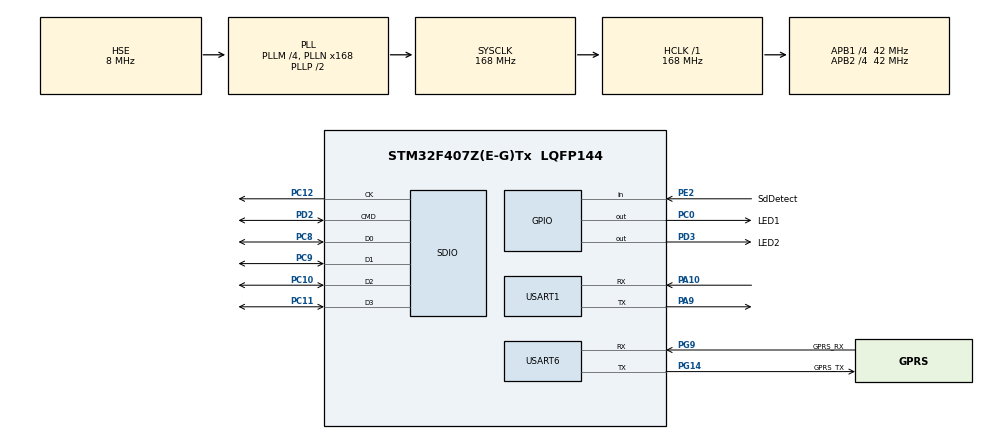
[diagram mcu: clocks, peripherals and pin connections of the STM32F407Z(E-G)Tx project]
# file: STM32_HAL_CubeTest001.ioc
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Dma.Request0=SDIO_RX
Dma.Request1=SDIO_TX
Dma.SDIO_RX.0.Direction=DMA_PERIPH_TO_MEMORY
Dma.SDIO_RX.0.FIFOMode=DMA_FIFOMODE_ENABLE
Dma.SDIO_RX.0.FIFOThreshold=DMA_FIFO_THRESHOLD_FULL
Dma.SDIO_RX.0.Instance=DMA2_Stream3
Dma.SDIO_RX.0.MemBurst=DMA_MBURST_INC4
Dma.SDIO_RX.0.MemDataAlignment=DMA_MDATAALIGN_BYTE
Dma.SDIO_RX.0.MemInc=DMA_MINC_ENABLE
Dma.SDIO_RX.0.Mode=DMA_PFCTRL
Dma.SDIO_RX.0.PeriphBurst=DMA_PBURST_INC4
Dma.SDIO_RX.0.PeriphDataAlignment=DMA_PDATAALIGN_WORD
Dma.SDIO_RX.0.PeriphInc=DMA_PINC_DISABLE
Dma.SDIO_RX.0.Priority=DMA_PRIORITY_LOW
Dma.SDIO_TX.1.Direction=DMA_MEMORY_TO_PERIPH
Dma.SDIO_TX.1.FIFOMode=DMA_FIFOMODE_ENABLE
Dma.SDIO_TX.1.FIFOThreshold=DMA_FIFO_THRESHOLD_FULL
Dma.SDIO_TX.1.Instance=DMA2_Stream6
Dma.SDIO_TX.1.MemBurst=DMA_MBURST_INC4
Dma.SDIO_TX.1.MemDataAlignment=DMA_MDATAALIGN_WORD
Dma.SDIO_TX.1.MemInc=DMA_MINC_ENABLE
Dma.SDIO_TX.1.Mode=DMA_PFCTRL
Dma.SDIO_TX.1.PeriphBurst=DMA_PBURST_INC4
Dma.SDIO_TX.1.PeriphDataAlignment=DMA_PDATAALIGN_WORD
Dma.SDIO_TX.1.PeriphInc=DMA_PINC_DISABLE
Dma.SDIO_TX.1.Priority=DMA_PRIORITY_LOW
FATFS.BSP.number=1
FATFS._CODE_PAGE=850
FATFS._FS_EXFAT=0
FATFS._FS_LOCK=3
FATFS._FS_NORTC=1
FATFS._FS_RPATH=2
FATFS._FS_TINY=1
FATFS._MAX_LFN=64
FATFS._MAX_SS=4096
FATFS._MIN_SS=512
FATFS._USE_FIND=0
FATFS._USE_LFN=2
FATFS._USE_STRFUNC=0
FATFS._VOLUMES=2
FATFS0.BSP.STBoard=false
FATFS0.BSP.api=Unknown
FATFS0.BSP.i2caddr=0
FATFS0.BSP.instance=PE2
FATFS0.BSP.ip=GPIO
FATFS0.BSP.mode=Input
FATFS0.BSP.name=Detect_SDIO
FATFS0.BSP.solution=PE2
FREERTOS.BinarySemaphores01=recvDataTimeoutSem,Dynamic,NULL;recvFrameSem,Dynamic,NULL
FREERTOS.Queues01=recvFrameQ,1,1248,1,Dynamic,NULL,NULL;sendFrameQ,1,1248,1,Dynamic,NULL,NULL
FREERTOS.Tasks01=defaultTask,24,128,StartDefaultTask,Default,NULL,Dynamic,NULL,NULL;GPRSSendTask,17,1024,Start_GPRSSendTask,Default,NULL,Dynamic,NULL,NULL;updateTask,18,2048,StartupdateTask,Default,NULL,Dynamic,NULL,NULL;GPRSRecvTask,19,1024,Start_GPRSRecvTask,Default,NULL,Dynamic,NULL,NULL
FREERTOS.configCHECK_FOR_STACK_OVERFLOW=1
FREERTOS.configLIBRARY_LOWEST_INTERRUPT_PRIORITY=15
FREERTOS.configLIBRARY_MAX_SYSCALL_INTERRUPT_PRIORITY=5
FREERTOS.configTOTAL_HEAP_SIZE=0x10000
FREERTOS.configUSE_OS2_MUTEX=1
FREERTOS.configUSE_TASK_NOTIFICATIONS=1
Mcu.Family=STM32F4
Mcu.Name=STM32F407Z(E-G)Tx
Mcu.Package=LQFP144
NVIC.DMA2_Stream3_IRQn=true\:6\:0\:true\:false\:true\:true\:false\:true
NVIC.DMA2_Stream6_IRQn=true\:6\:0\:true\:false\:true\:true\:false\:true
NVIC.PriorityGroup=NVIC_PRIORITYGROUP_4
NVIC.SDIO_IRQn=true\:5\:0\:true\:false\:true\:true\:true\:true
NVIC.TIM1_BRK_TIM9_IRQn=true\:5\:0\:true\:false\:true\:true\:true\:true
NVIC.TIM1_UP_TIM10_IRQn=true\:15\:0\:true\:false\:true\:false\:false\:true
NVIC.TIM5_IRQn=true\:8\:0\:true\:false\:true\:true\:true\:true
NVIC.TimeBase=TIM1_UP_TIM10_IRQn
NVIC.TimeBaseIP=TIM1
NVIC.USART1_IRQn=true\:8\:0\:true\:false\:true\:true\:true\:true
NVIC.USART6_IRQn=true\:6\:0\:true\:false\:true\:true\:true\:true
PA10.Mode=Asynchronous
PA10.Signal=USART1_RX
PA13.Mode=JTAG_4_pins
PA13.Signal=SYS_JTMS-SWDIO
PA14.Mode=JTAG_4_pins
PA14.Signal=SYS_JTCK-SWCLK
PA15.Mode=JTAG_4_pins
PA15.Signal=SYS_JTDI
PA9.Mode=Asynchronous
PA9.Signal=USART1_TX
PB3.Mode=JTAG_4_pins
PB3.Signal=SYS_JTDO-SWO
PC0.GPIO_Label=LED1
PC0.GPIO_PuPd=GPIO_PULLUP
PC0.PinState=GPIO_PIN_SET
PC0.Signal=GPIO_Output
PC10.GPIO_PuPd=GPIO_PULLUP
PC10.Mode=SD_4_bits_Wide_bus
PC10.Signal=SDIO_D2
PC11.GPIO_PuPd=GPIO_PULLUP
PC11.Mode=SD_4_bits_Wide_bus
PC11.Signal=SDIO_D3
PC12.GPIO_PuPd=GPIO_PULLUP
PC12.Mode=SD_4_bits_Wide_bus
PC12.Signal=SDIO_CK
PC8.GPIO_PuPd=GPIO_PULLUP
PC8.Mode=SD_4_bits_Wide_bus
PC8.Signal=SDIO_D0
PC9.GPIO_PuPd=GPIO_PULLUP
PC9.Mode=SD_4_bits_Wide_bus
PC9.Signal=SDIO_D1
PD2.GPIO_PuPd=GPIO_PULLUP
PD2.Mode=SD_4_bits_Wide_bus
PD2.Signal=SDIO_CMD
PD3.GPIO_Label=LED2
PD3.GPIO_PuPd=GPIO_PULLUP
PD3.PinState=GPIO_PIN_SET
PD3.Signal=GPIO_Output
PE2.GPIO_Label=SdDetect
PE2.Signal=GPIO_Input
PG14.GPIO_Label=GPRS_TX
PG14.Mode=Asynchronous
PG14.Signal=USART6_TX
PG9.GPIO_Label=GPRS_RX
PG9.Mode=Asynchronous
PG9.Signal=USART6_RX
PH0-OSC_IN.Mode=HSE-External-Oscillator
PH0-OSC_IN.Signal=RCC_OSC_IN
PH1-OSC_OUT.Mode=HSE-External-Oscillator
PH1-OSC_OUT.Signal=RCC_OSC_OUT
ProjectManager.HeapSize=0x1000
ProjectManager.StackSize=0x1000
ProjectManager.TargetToolchain=MDK-ARM V5.32
RCC.48MHZClocksFreq_Value=48000000
RCC.AHBFreq_Value=168000000
RCC.APB1CLKDivider=RCC_HCLK_DIV4
RCC.APB1Freq_Value=42000000
RCC.APB1TimFreq_Value=84000000
RCC.APB2CLKDivider=RCC_HCLK_DIV4
RCC.APB2Freq_Value=42000000
RCC.APB2TimFreq_Value=84000000
RCC.CortexFreq_Value=168000000
RCC.HCLKFreq_Value=168000000
RCC.HSE_VALUE=8000000
RCC.HSI_VALUE=16000000
RCC.LSE_VALUE=32768
RCC.PLLM=4
RCC.PLLN=168
RCC.PLLQ=7
RCC.PLLSourceVirtual=RCC_PLLSOURCE_HSE
RCC.SYSCLKFreq_VALUE=168000000
RCC.SYSCLKSource=RCC_SYSCLKSOURCE_PLLCLK
RCC.VCOOutputFreq_Value=336000000
SDIO.ClockDiv=24
TIM5.AutoReloadPreload=TIM_AUTORELOAD_PRELOAD_ENABLE
TIM5.Period=29999
TIM5.Prescaler=8399
TIM9.Period=99
TIM9.Prescaler=8399
USART1.VirtualMode=VM_ASYNC
USART6.VirtualMode=VM_ASYNC
VP_FATFS_VS_SDIO.Mode=SDIO
VP_FREERTOS_VS_CMSIS_V2.Mode=CMSIS_V2
VP_SYS_VS_tim1.Mode=TIM1
VP_TIM5_VS_ClockSourceINT.Mode=Internal
VP_TIM9_VS_ClockSourceINT.Mode=Internal
board=custom

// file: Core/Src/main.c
/* USER CODE BEGIN Header */
/**
  ******************************************************************************
  * @file           : main.c
  * @brief          : Main program body
  ******************************************************************************
  * @attention
  *
  * <h2><center>&copy; Copyright (c) 2021 STMicroelectronics.
  * All rights reserved.</center></h2>
  *
  * This software component is licensed by ST under BSD 3-Clause license,
  * the "License"; You may not use this file except in compliance with the
  * License. You may obtain a copy of the License at:
  *                        opensource.org/licenses/BSD-3-Clause
  *
  ******************************************************************************
  */
/* USER CODE END Header */
#include "main.h"
#include "cmsis_os.h"
#include "dma.h"
#include "fatfs.h"
#include "sdio.h"
#include "tim.h"
#include "usart.h"
#include "gpio.h"

/* USER CODE BEGIN PV */

extern uint8_t usart1_start_update;
extern uint8_t gprsResendCount;

/* USER CODE END PV */

void SystemClock_Config(void);
void MX_FREERTOS_Init(void);

/* USER CODE BEGIN 0 */
#include "stdio.h"
struct __FILE
{
	int handle;
};

FILE __stdout;

void _sys_exit(int x)
{
    x = x;
}

int fputc(int ch, FILE *f)
{
    HAL_UART_Transmit(&huart1, (uint8_t *)&ch, 1, HAL_MAX_DELAY);
    return ch;
}

int fgetc(FILE *f)
{
    uint8_t ch = 0;
    HAL_UART_Receive(&huart1, &ch, 1, HAL_MAX_DELAY);
    return ch;
}
/* USER CODE END 0 */

int main(void)
{
  /* USER CODE BEGIN 1 */
//	uint8_t ret = 0;
  /* USER CODE END 1 */

  /* MCU Configuration--------------------------------------------------------*/

  /* Reset of all peripherals, Initializes the Flash interface and the Systick. */
  HAL_Init();

  /* Configure the system clock */
  SystemClock_Config();

  /* Initialize all configured peripherals */
  MX_GPIO_Init();
  MX_USART1_UART_Init();
  MX_DMA_Init();
  MX_SDIO_SD_Init();
  MX_USART6_UART_Init();
  MX_FATFS_Init();
  MX_TIM5_Init();
  MX_TIM9_Init();
  /* USER CODE BEGIN 2 */

	printf("This is a Test for Y-511 Update Flash\r\n");
//	UART6_Printf("This is a Test for Y-511 Update Flash\r\n");
  InternalFlash_Test1();
//	SD_EraseTest();
//	SD_GetSDCardInfoTest();
//	SD_ReadWriteTest();
//	usrSdTest();

//	initFatfs();
//	usrFatfsWriteTest();
//	usrFatfsReadTest();
//	usrTimerTest();
  /* USER CODE END 2 */

  /* Init scheduler */
  osKernelInitialize();  /* Call init function for freertos objects (in freertos.c) */
  MX_FREERTOS_Init();
  /* Start scheduler */
  osKernelStart();

  /* We should never get here as control is now taken by the scheduler */
  /* Infinite loop */
  while (1)
  {

    /* USER CODE BEGIN 3 */
//	HAL_Delay(100);
  }
  /* USER CODE END 3 */
}

void SystemClock_Config(void)
{
  RCC_OscInitTypeDef RCC_OscInitStruct = {0};
  RCC_ClkInitTypeDef RCC_ClkInitStruct = {0};

  /** Configure the main internal regulator output voltage
  */
  __HAL_RCC_PWR_CLK_ENABLE();
  __HAL_PWR_VOLTAGESCALING_CONFIG(PWR_REGULATOR_VOLTAGE_SCALE1);
  /** Initializes the RCC Oscillators according to the specified parameters
  * in the RCC_OscInitTypeDef structure.
  */
  RCC_OscInitStruct.OscillatorType = RCC_OSCILLATORTYPE_HSE;
  RCC_OscInitStruct.HSEState = RCC_HSE_ON;
  RCC_OscInitStruct.PLL.PLLState = RCC_PLL_ON;
  RCC_OscInitStruct.PLL.PLLSource = RCC_PLLSOURCE_HSE;
  RCC_OscInitStruct.PLL.PLLM = 4;
  RCC_OscInitStruct.PLL.PLLN = 168;
  RCC_OscInitStruct.PLL.PLLP = RCC_PLLP_DIV2;
  RCC_OscInitStruct.PLL.PLLQ = 7;
  if (HAL_RCC_OscConfig(&RCC_OscInitStruct) != HAL_OK)
  {
    Error_Handler();
  }
  /** Initializes the CPU, AHB and APB buses clocks
  */
  RCC_ClkInitStruct.ClockType = RCC_CLOCKTYPE_HCLK|RCC_CLOCKTYPE_SYSCLK
                              |RCC_CLOCKTYPE_PCLK1|RCC_CLOCKTYPE_PCLK2;
  RCC_ClkInitStruct.SYSCLKSource = RCC_SYSCLKSOURCE_PLLCLK;
  RCC_ClkInitStruct.AHBCLKDivider = RCC_SYSCLK_DIV1;
  RCC_ClkInitStruct.APB1CLKDivider = RCC_HCLK_DIV4;
  RCC_ClkInitStruct.APB2CLKDivider = RCC_HCLK_DIV4;

  if (HAL_RCC_ClockConfig(&RCC_ClkInitStruct, FLASH_LATENCY_5) != HAL_OK)
  {
    Error_Handler();
  }
}

void HAL_TIM_PeriodElapsedCallback(TIM_HandleTypeDef *htim)
{
  if (htim->Instance == TIM1) {
    HAL_IncTick();
  }
  /* USER CODE BEGIN Callback 1 */
	if(TIM5 == htim->Instance)
	{
		Frame_Timeout_Timer_Stop();
		GPRS_RecvTimeout_Process();
	}
	else if(TIM9 == htim->Instance)
	{
		Recvdata_Timeout_Timer_Stop();
		Frame_Timeout_Timer_Stop();
		if(1 == usart1_start_update)
		{
			copyUart1ToGPRS();
		}
		sendSemToTask();
		gprsResendCount = 3;
	}
  /* USER CODE END Callback 1 */
}

void Error_Handler(void)
{
  __disable_irq();
  while (1)
  {
  }
}

/************************ (C) COPYRIGHT STMicroelectronics *****END OF FILE****/

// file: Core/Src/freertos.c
/* USER CODE BEGIN Header */
/**
  ******************************************************************************
  * File Name          : freertos.c
  * Description        : Code for freertos applications
  ******************************************************************************
  * @attention
  *
  * <h2><center>&copy; Copyright (c) 2021 STMicroelectronics.
  * All rights reserved.</center></h2>
  *
  * This software component is licensed by ST under Ultimate Liberty license
  * SLA0044, the "License"; You may not use this file except in compliance with
  * the License. You may obtain a copy of the License at:
  *                             www.st.com/SLA0044
  *
  ******************************************************************************
  */
/* USER CODE END Header */

#include "FreeRTOS.h"
#include "task.h"
#include "main.h"
#include "cmsis_os.h"

/* USER CODE BEGIN Includes */
#include "GPRS_Recv_Task.h"
#include "GPRS_Send_Task.h"
#include "data_Update_Task.h"

#include "usart.h"
/* USER CODE END Includes */

/* USER CODE BEGIN Variables */
//uint32_t getFrameSig = 0;

/* USER CODE END Variables */
/* Definitions for defaultTask */
osThreadId_t defaultTaskHandle;
const osThreadAttr_t defaultTask_attributes = {
  .name = "defaultTask",
  .stack_size = 128 * 4,
  .priority = (osPriority_t) osPriorityNormal,
};
/* Definitions for GPRSSendTask */
osThreadId_t GPRSSendTaskHandle;
const osThreadAttr_t GPRSSendTask_attributes = {
  .name = "GPRSSendTask",
  .stack_size = 1024 * 4,
  .priority = (osPriority_t) osPriorityBelowNormal1,
};
/* Definitions for updateTask */
osThreadId_t updateTaskHandle;
const osThreadAttr_t updateTask_attributes = {
  .name = "updateTask",
  .stack_size = 2048 * 4,
  .priority = (osPriority_t) osPriorityBelowNormal2,
};
/* Definitions for GPRSRecvTask */
osThreadId_t GPRSRecvTaskHandle;
const osThreadAttr_t GPRSRecvTask_attributes = {
  .name = "GPRSRecvTask",
  .stack_size = 1024 * 4,
  .priority = (osPriority_t) osPriorityBelowNormal3,
};
/* Definitions for recvFrameQ */
osMessageQueueId_t recvFrameQHandle;
const osMessageQueueAttr_t recvFrameQ_attributes = {
  .name = "recvFrameQ"
};
/* Definitions for sendFrameQ */
osMessageQueueId_t sendFrameQHandle;
const osMessageQueueAttr_t sendFrameQ_attributes = {
  .name = "sendFrameQ"
};
/* Definitions for recvDataTimeoutSem */
osSemaphoreId_t recvDataTimeoutSemHandle;
const osSemaphoreAttr_t recvDataTimeoutSem_attributes = {
  .name = "recvDataTimeoutSem"
};
/* Definitions for recvFrameSem */
osSemaphoreId_t recvFrameSemHandle;
const osSemaphoreAttr_t recvFrameSem_attributes = {
  .name = "recvFrameSem"
};

/* USER CODE BEGIN FunctionPrototypes */

void sendSemToTask(void)
{
	osSemaphoreRelease(recvDataTimeoutSemHandle);
}

/* USER CODE END FunctionPrototypes */

void StartDefaultTask(void *argument);
void Start_GPRSSendTask(void *argument);
void StartupdateTask(void *argument);
void Start_GPRSRecvTask(void *argument);

void MX_FREERTOS_Init(void); /* (MISRA C 2004 rule 8.1) */

/* Hook prototypes */
void vApplicationStackOverflowHook(xTaskHandle xTask, signed char *pcTaskName);

/* USER CODE BEGIN 4 */
void vApplicationStackOverflowHook(xTaskHandle xTask, signed char *pcTaskName)
{
   /* Run time stack overflow checking is performed if
   configCHECK_FOR_STACK_OVERFLOW is defined to 1 or 2. This hook function is
   called if a stack overflow is detected. */
   while(1)
   	{
   		ToggleLED2();
		HAL_Delay(300);
   	}
}
/* USER CODE END 4 */

void MX_FREERTOS_Init(void) {

  /* Create the semaphores(s) */
  /* creation of recvDataTimeoutSem */
  recvDataTimeoutSemHandle = osSemaphoreNew(1, 1, &recvDataTimeoutSem_attributes);

  /* creation of recvFrameSem */
  recvFrameSemHandle = osSemaphoreNew(1, 1, &recvFrameSem_attributes);

  /* Create the queue(s) */
  /* creation of recvFrameQ */
  recvFrameQHandle = osMessageQueueNew (1, 1248, &recvFrameQ_attributes);

  /* creation of sendFrameQ */
  sendFrameQHandle = osMessageQueueNew (1, 1248, &sendFrameQ_attributes);

  /* Create the thread(s) */
  /* creation of defaultTask */
  defaultTaskHandle = osThreadNew(StartDefaultTask, NULL, &defaultTask_attributes);

  /* creation of GPRSSendTask */
  GPRSSendTaskHandle = osThreadNew(Start_GPRSSendTask, NULL, &GPRSSendTask_attributes);

  /* creation of updateTask */
  updateTaskHandle = osThreadNew(StartupdateTask, NULL, &updateTask_attributes);

  /* creation of GPRSRecvTask */
  GPRSRecvTaskHandle = osThreadNew(Start_GPRSRecvTask, NULL, &GPRSRecvTask_attributes);

}

void StartDefaultTask(void *argument)
{
  for(;;)
  {
    osDelay(1);
  }
}

void Start_GPRSSendTask(void *argument)
{
  /* USER CODE BEGIN Start_GPRSSendTask */
	osStatus_t status;
	uint8_t *pSendData;
	uint8_t pro;

	initGPRS_Send_Task(&pSendData);
  /* Infinite loop */
	for(;;)
	{
		status = osMessageQueueGet(sendFrameQHandle, pSendData, &pro, osWaitForever);
		if(osOK == status)
		{
			GPRS_Send_Start(pSendData);
		}
		//    osDelay(1);
	}
  /* USER CODE END Start_GPRSSendTask */
}

void StartupdateTask(void *argument)
{
  /* USER CODE BEGIN StartupdateTask */
  osStatus_t status;
  uint8_t *pSendData, *pRecvData;
  uint8_t pro;
  UPDATE_ERROR_TYPE_E ret = UPDATE_NO_ERROR;

  initFatfs();
//  SD_GetSDCardInfoTest();
  initUpdateTask(&pSendData, &pRecvData);

  /* Infinite loop */
  for(;;)
  {
	status = osMessageQueueGet(recvFrameQHandle, pRecvData, &pro, osWaitForever);
	if(osOK == status)
	{
		ToggleLED1();
		ret = data_Updata_Process();
		if((UPDATE_NO_ERROR == ret) || (UPDATE_ERROR_RESEND == ret))
		{
			status = osMessageQueuePut(sendFrameQHandle, pSendData, 1, 10);
		}
	}
//    osDelay(1);
  }
  /* USER CODE END StartupdateTask */
}

void Start_GPRSRecvTask(void *argument)
{
  /* USER CODE BEGIN Start_GPRSRecvTask */
	osStatus_t status;
	initGPRS_Recv_Task();

	status = osSemaphoreAcquire(recvDataTimeoutSemHandle, osWaitForever);
	if(osOK == status)
	{
		ToggleLED2();
	}

  /* Infinite loop */
  for(;;)
  {
	status = osSemaphoreAcquire(recvDataTimeoutSemHandle, osWaitForever);
	if(osOK == status)
	{
//		ToggleLED2();
		// 数据帧数据接收完成
		GPRS_Recv_Process();
	}

//    osDelay(1000);
  }
  /* USER CODE END Start_GPRSRecvTask */
}

/************************ (C) COPYRIGHT STMicroelectronics *****END OF FILE****/
